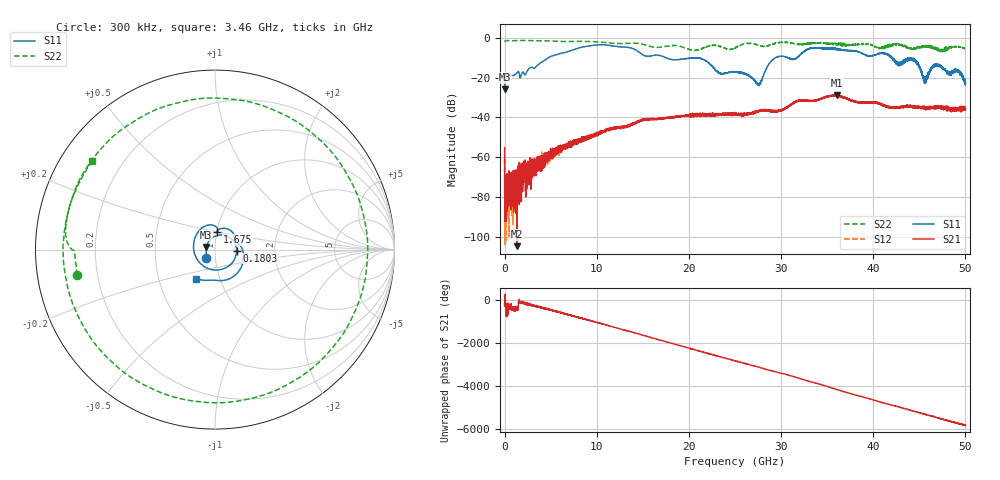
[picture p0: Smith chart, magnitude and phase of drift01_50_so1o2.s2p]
!Created with skrf (http://scikit-rf.org).
# Hz S RI R 50.0
!freq ReS11 ImS11 ReS21 ImS21 ReS12 ImS12 ReS22 ImS22
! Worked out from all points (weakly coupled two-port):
!   10001 points, 300 kHz to 50 GHz, reference 50 ohm
!   highest |S21| = -28.85 dB at 36.06 GHz (marker M1); lowest = -104.5 dB at 1.345 GHz (marker M2)
!   lowest |S11| = -25.8 dB at 5.3 MHz (marker M3), VSWR 1.11, Z = 45.3 + j1.38 ohm
!   |S11| at or under -10 dB: start of sweep to 4.765 GHz; 17.49 GHz to 29.4 GHz (11.91 GHz wide, 50.8 % of centre); 44.04 GHz to end of sweep (the widest 3 of 10)
!   |S22| runs from -7.0 to -1.4 dB; largest |S21 - S12| = 0.0042
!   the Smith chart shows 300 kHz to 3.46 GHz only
!   S11 on the Smith chart (normalised r, x): 300 kHz: 0.90, -0.08; 180.3 MHz: 1.27, -0.01; 1.675 GHz: 1.01, +0.20; 3.46 GHz: 0.77, -0.26
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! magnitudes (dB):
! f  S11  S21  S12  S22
! 300 kHz  -23.4  -55.1  -60.5  -2.1
! 5.3 MHz  -25.8  -81.1  -75.2  -2.1
! 180.3 MHz  -18.4  -92.2  -82.6  -1.5
! 260.3 MHz  -18.3  -71.3  -74.3  -1.4
! 1.345 GHz  -17.6  -104.5  -71.2  -1.4
! 1.675 GHz  -20.1  -68.7  -66.2  -1.4
! 3.46 GHz  -14.3  -61.8  -62.5  -1.5
! 8.335 GHz  -4.8  -50.5  -50.8  -1.8
! 16.67 GHz  -8.8  -40.8  -40.8  -4.8
! 25 GHz  -17.1  -38.4  -38.5  -5.1
! 27.58 GHz  -23.9  -36.8  -36.8  -3.9
! 29.28 GHz  -10.3  -37.3  -36.8  -2.8
! 31.45 GHz  -10.8  -32.6  -32.5  -3.0
! 33.34 GHz  -5.1  -31.8  -31.6  -2.7
! 36.06 GHz  -5.5  -28.9  -29.3  -2.8
! 41.67 GHz  -9.0  -34.3  -34.8  -4.6
! 42.73 GHz  -12.5  -34.7  -34.7  -3.1
! 44.38 GHz  -10.6  -34.5  -34.8  -5.6
! 45.63 GHz  -20.9  -35.2  -35.3  -4.3
! 46.88 GHz  -13.8  -35.2  -34.0  -5.4
! 49.2 GHz  -16.5  -36.3  -36.2  -4.4
! 50 GHz  -22.4  -35.7  -34.9  -5.5
